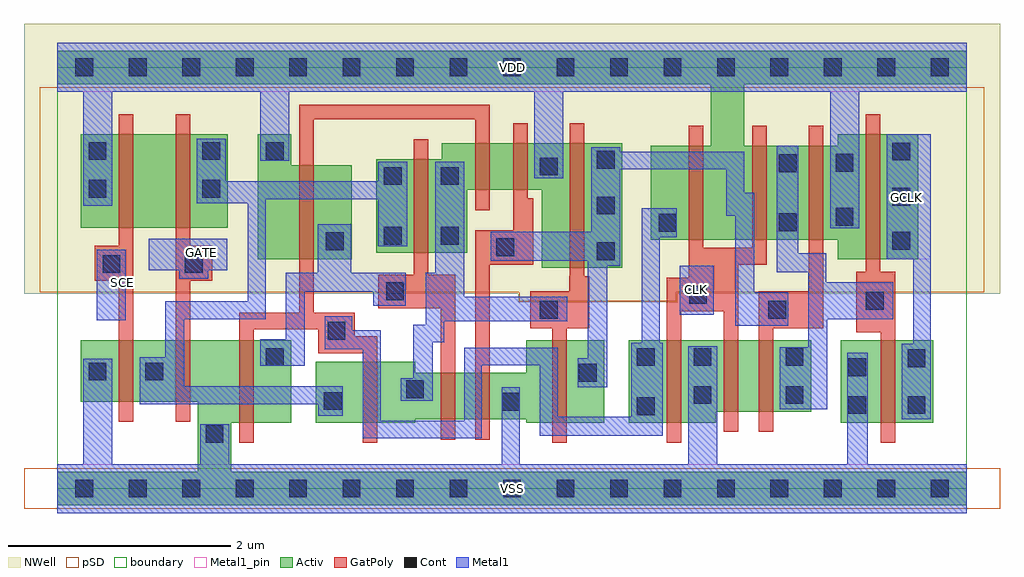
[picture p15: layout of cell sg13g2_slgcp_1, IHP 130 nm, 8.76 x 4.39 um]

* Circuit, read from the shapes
.subckt sg13g2_slgcp_1 CLK GATE GCLK SCE VDD VSS
XM1 n1 SCE VSS VSS sg13_lv_nmos w=0.55u l=0.13u
XM2 VSS GATE n1 VSS sg13_lv_nmos w=0.55u l=0.13u
XM3 n2 n3 VSS VSS sg13_lv_nmos w=0.74u l=0.13u
XM4 n4 n3 n1 VSS sg13_lv_nmos w=0.55u l=0.13u
XM5 n5 n2 n4 VSS sg13_lv_nmos w=0.42u l=0.13u
XM6 VSS n6 n5 VSS sg13_lv_nmos w=0.42u l=0.13u
XM7 n6 n4 VSS VSS sg13_lv_nmos w=0.74u l=0.13u
XM8 VSS CLK n3 VSS sg13_lv_nmos w=0.74u l=0.13u
XM9 n7 CLK VSS VSS sg13_lv_nmos w=0.64u l=0.13u
XM10 n8 n6 n7 VSS sg13_lv_nmos w=0.64u l=0.13u
XM11 GCLK n8 VSS VSS sg13_lv_nmos w=0.74u l=0.13u
XM12 n9 SCE VDD VDD sg13_lv_pmos w=0.84u l=0.13u
XM13 n1 GATE n9 VDD sg13_lv_pmos w=0.84u l=0.13u
XM14 n2 n3 VDD VDD sg13_lv_pmos w=0.84u l=0.13u
XM15 n4 n2 n1 VDD sg13_lv_pmos w=0.84u l=0.13u
XM16 n10 n3 n4 VDD sg13_lv_pmos w=0.42u l=0.13u
XM17 VDD n6 n10 VDD sg13_lv_pmos w=0.42u l=0.13u
XM18 n6 n4 VDD VDD sg13_lv_pmos w=1.12u l=0.13u
XM19 VDD CLK n3 VDD sg13_lv_pmos w=0.84u l=0.13u
XM20 n8 CLK VDD VDD sg13_lv_pmos w=0.84u l=0.13u
XM21 VDD n6 n8 VDD sg13_lv_pmos w=0.84u l=0.13u
XM22 GCLK n8 VDD VDD sg13_lv_pmos w=1.12u l=0.13u
.ends

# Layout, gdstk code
import gdstk
lib = gdstk.Library(unit=1e-6, precision=1e-09)
def R(c, l, rs):  # rectangles x0, y0, x1, y1
    for r in rs: c.add(gdstk.rectangle(r[:2], r[2:], *l))
def A(c, l, x, y, w, h, nx, ny, dx, dy):  # array of equal rectangles
    R(c, l, [(x+i*dx, y+j*dy, x+i*dx+w, y+j*dy+h) for i in range(nx) for j in range(ny)])
def P(c, l, *ps):  # polygons
    for p in ps: c.add(gdstk.Polygon(p, *l))
Activ = (1, 0)
GatPoly = (5, 0)
Cont = (6, 0)
Metal1 = (8, 0)
Metal1_pin = (8, 2)
pSD = (14, 0)
NWell = (31, 0)
boundary = (189, 4)

sg13g2_slgcp_1 = lib.new_cell('sg13g2_slgcp_1')
R(sg13g2_slgcp_1, Activ, [(7.03,0.59,7.86,1.33), (0.21,2.34,1.53,3.18), (0,3.63,8.16,3.93)])
P(sg13g2_slgcp_1, Activ, [(0,-0.15),(0,0.15),(1.26,0.15),(1.26,0.78),(0.21,0.78),(0.21,1.33),(2.1,1.33),(2.1,0.59),(1.56,0.59),(1.56,0.15),(8.16,0.15),(8.16,-0.15)],
  [(7.005,2.06),(7.005,2.235),(5.325,2.235),(5.325,3.075),(5.865,3.075),(5.865,3.63),(6.165,3.63),(6.165,3.075),(7.005,3.075),(7.005,3.18),(7.725,3.18),(7.725,2.06)],
  [(5.13,0.59),(5.13,1.33),(6.765,1.33),(6.765,0.69),(5.91,0.69),(5.91,0.59)],
  [(4.345,1.98),(4.345,2.68),(3.68,2.68),(3.68,2.115),(2.86,2.115),(2.86,2.955),(3.45,2.955),(3.45,3.1),(5.07,3.1),(5.07,1.98)],
  [(2.32,0.59),(2.32,1.14),(3.21,1.14),(3.21,1.04),(4.21,1.04),(4.21,1.33),(4.91,1.33),(4.91,0.59),(4.21,0.59),(4.21,0.62),(3.21,0.62),(3.21,0.59)],
  [(1.8,2.06),(1.8,3.18),(2.1,3.18),(2.1,2.9),(2.64,2.9),(2.64,2.06)])
P(sg13g2_slgcp_1, GatPoly, [(0.55,0.6),(0.55,1.865),(0.335,1.865),(0.335,2.18),(0.55,2.18),(0.55,3.36),(0.68,3.36),(0.68,0.6)],
  [(7.39,0.41),(7.39,1.405),(7.17,1.405),(7.17,1.945),(7.255,1.945),(7.255,3.36),(7.385,3.36),(7.385,1.945),(7.52,1.945),(7.52,0.41)],
  [(6.295,0.51),(6.295,1.77),(6.745,1.77),(6.745,3.255),(6.875,3.255),(6.875,1.44),(6.425,1.44),(6.425,0.51)],
  [(5.47,0.41),(5.47,1.89),(5.665,1.89),(5.665,3.255),(5.795,3.255),(5.795,2.16),(6.235,2.16),(6.235,3.255),(6.365,3.255),(6.365,2.01),(6.11,2.01),(6.11,0.51),(5.98,0.51),(5.98,1.59),(5.6,1.59),(5.6,0.41)],
  [(4.44,0.41),(4.44,1.44),(4.245,1.44),(4.245,1.77),(4.595,1.77),(4.595,1.905),(4.6,1.905),(4.6,3.28),(4.73,3.28),(4.73,1.905),(4.775,1.905),(4.775,1.44),(4.57,1.44),(4.57,0.41)],
  [(3.75,0.44),(3.75,2.32),(4.09,2.32),(4.09,3.28),(4.22,3.28),(4.22,2.605),(4.27,2.605),(4.27,2.01),(3.88,2.01),(3.88,0.44)],
  [(1.63,0.41),(1.63,1.58),(2.17,1.58),(2.17,3.445),(3.88,3.445),(3.88,2.5),(3.75,2.5),(3.75,3.315),(2.3,3.315),(2.3,1.58),(2.67,1.58),(2.67,1.365),(2.87,1.365),(2.87,0.41),(2.74,0.41),(2.74,1.215),(2.34,1.215),(2.34,1.43),(1.76,1.43),(1.76,0.41)],
  [(3.44,0.44),(3.44,1.62),(2.88,1.62),(2.88,1.92),(3.2,1.92),(3.2,3.135),(3.33,3.135),(3.33,1.92),(3.57,1.92),(3.57,0.44)],
  [(1.06,0.6),(1.06,3.36),(1.19,3.36),(1.19,2.18),(1.39,2.18),(1.39,1.865),(1.19,1.865),(1.19,0.6)])
A(sg13g2_slgcp_1, Cont, 0.16, -0.08, 0.16, 0.16, 17, 2, 0.48, 3.78)
A(sg13g2_slgcp_1, Cont, 4.84, 2.05, 0.16, 0.16, 1, 3, 0, 0.41)
R(sg13g2_slgcp_1, Cont, [(1.33,0.41,1.49,0.57), (5.2,0.66,5.36,0.82), (7.1,0.67,7.26,0.83), (7.63,0.67,7.79,0.83), (3.99,0.7,4.15,0.86), (2.39,0.705,2.55,0.865), (5.71,0.76,5.87,0.92), (6.535,0.76,6.695,0.92), (3.13,0.81,3.29,0.97), (4.68,0.96,4.84,1.12), (0.28,0.97,0.44,1.13), (0.79,0.97,0.95,1.13), (7.1,1.01,7.26,1.17), (7.63,1.09,7.79,1.25), (1.87,1.1,2.03,1.26), (5.2,1.1,5.36,1.26), (5.71,1.1,5.87,1.26), (6.535,1.1,6.695,1.26), (2.425,1.335,2.585,1.495), (4.33,1.525,4.49,1.685), (6.38,1.525,6.54,1.685), (7.255,1.605,7.415,1.765), (5.67,1.66,5.83,1.82), (2.95,1.69,3.11,1.85), (0.405,1.935,0.565,2.095), (1.145,1.935,1.305,2.095), (3.94,2.085,4.1,2.245), (2.41,2.14,2.57,2.3), (7.495,2.145,7.655,2.305), (2.93,2.19,3.09,2.35), (3.44,2.19,3.6,2.35), (5.395,2.305,5.555,2.465), (6.475,2.31,6.635,2.47), (6.985,2.36,7.145,2.52), (7.495,2.54,7.655,2.7), (0.28,2.61,0.44,2.77), (1.3,2.61,1.46,2.77), (2.93,2.725,3.09,2.885), (3.44,2.725,3.6,2.885), (4.33,2.81,4.49,2.97), (6.475,2.84,6.635,3), (6.985,2.845,7.145,3.005), (7.495,2.945,7.655,3.105), (0.28,2.95,0.44,3.11), (1.3,2.95,1.46,3.11), (1.87,2.95,2.03,3.11)])
R(sg13g2_slgcp_1, Metal1, [(0.355,1.51,0.615,2.145), (5.585,1.56,5.89,2)])
P(sg13g2_slgcp_1, Metal1, [(0,-0.22),(0,0.22),(0.23,0.22),(0.23,1.165),(0.49,1.165),(0.49,0.22),(1.28,0.22),(1.28,0.575),(1.54,0.575),(1.54,0.22),(3.99,0.22),(3.99,0.91),(4.15,0.91),(4.15,0.22),(5.66,0.22),(5.66,1.275),(5.92,1.275),(5.92,0.22),(7.09,0.22),(7.09,1.22),(7.275,1.22),(7.275,0.22),(8.16,0.22),(8.16,-0.22)],
  [(6.935,2.335),(6.935,3.56),(4.54,3.56),(4.54,2.785),(4.28,2.785),(4.28,3.56),(2.08,3.56),(2.08,2.94),(1.82,2.94),(1.82,3.56),(0.49,3.56),(0.49,2.54),(0.23,2.54),(0.23,3.56),(0,3.56),(0,4),(8.16,4),(8.16,3.56),(7.195,3.56),(7.195,2.335)],
  [(4.67,0.91),(4.67,1.17),(4.76,1.17),(4.76,2.045),(3.89,2.045),(3.89,2.305),(4.79,2.305),(4.79,3.065),(5.05,3.065),(5.05,3.025),(6.165,3.025),(6.165,2.655),(6.255,2.655),(6.255,1.76),(6.56,1.76),(6.56,1.46),(6.085,1.46),(6.085,2.45),(6.005,2.45),(6.005,2.865),(5.05,2.865),(5.05,2),(4.935,2),(4.935,0.91)],
  [(7.58,0.62),(7.58,1.3),(7.68,1.3),(7.68,2.06),(7.445,2.06),(7.445,3.18),(7.84,3.18),(7.84,0.62)],
  [(6.485,0.71),(6.485,1.27),(6.74,1.27),(6.74,1.94),(6.455,1.94),(6.455,3.075),(6.65,3.075),(6.65,2.11),(6.9,2.11),(6.9,1.85),(7.5,1.85),(7.5,1.52),(6.91,1.52),(6.91,0.71)],
  [(2.74,0.45),(2.74,1.25),(2.4,1.25),(2.4,1.545),(2.645,1.545),(2.645,1.42),(2.9,1.42),(2.9,0.61),(3.65,0.61),(3.65,1.265),(4.49,1.265),(4.49,0.645),(5.15,0.645),(5.15,1.31),(5.245,1.31),(5.245,2.515),(5.56,2.515),(5.56,2.255),(5.405,2.255),(5.405,1.31),(5.435,1.31),(5.435,0.475),(4.33,0.475),(4.33,1.105),(3.81,1.105),(3.81,0.45)],
  [(3.08,0.79),(3.08,0.99),(3.195,0.99),(3.195,1.47),(3.305,1.47),(3.305,1.935),(3.39,1.935),(3.39,2.935),(3.65,2.935),(3.65,1.72),(4.575,1.72),(4.575,1.5),(3.47,1.5),(3.47,1.315),(3.37,1.315),(3.37,0.79)],
  [(2.34,0.655),(2.34,0.755),(0.74,0.755),(0.74,1.18),(0.97,1.18),(0.97,1.68),(1.71,1.68),(1.71,2.56),(1.25,2.56),(1.25,3.14),(1.51,3.14),(1.51,2.76),(2.88,2.76),(2.88,2.935),(3.14,2.935),(3.14,2.175),(2.88,2.175),(2.88,2.595),(1.87,2.595),(1.87,1.52),(1.14,1.52),(1.14,0.92),(2.56,0.92),(2.56,0.655)],
  [(1.82,1.1),(1.82,1.34),(2.05,1.34),(2.05,1.935),(2.335,1.935),(2.335,2.37),(2.635,2.37),(2.635,1.935),(3.125,1.935),(3.125,1.64),(2.835,1.64),(2.835,1.765),(2.22,1.765),(2.22,1.1)],
  [(1.095,1.885),(1.095,1.96),(0.82,1.96),(0.82,2.24),(1.525,2.24),(1.525,1.96),(1.355,1.96),(1.355,1.885)])
R(sg13g2_slgcp_1, Metal1_pin, [(0,-0.22,8.16,0.22), (0.355,1.51,0.615,2.145), (5.585,1.56,5.89,2), (0.82,1.96,1.525,2.24), (7.445,2.06,7.84,3.18), (0,3.56,8.16,4)])
R(sg13g2_slgcp_1, pSD, [(-0.3,-0.18,8.46,0.18)])
P(sg13g2_slgcp_1, pSD, [(4.145,1.68),(4.145,1.76),(-0.16,1.76),(-0.16,3.6),(8.32,3.6),(8.32,1.76),(5.555,1.76),(5.555,1.68)])
P(sg13g2_slgcp_1, NWell, [(4.135,1.67),(4.135,1.75),(-0.3,1.75),(-0.3,4.17),(8.46,4.17),(8.46,1.75),(5.565,1.75),(5.565,1.67)])
R(sg13g2_slgcp_1, boundary, [(0,0,8.16,3.78)])
sg13g2_slgcp_1.add(gdstk.Label('GCLK', (7.62,2.615), layer=8, texttype=25))
sg13g2_slgcp_1.add(gdstk.Label('SCE', (0.58,1.845), layer=8, texttype=25))
sg13g2_slgcp_1.add(gdstk.Label('GATE', (1.29,2.115), layer=8, texttype=25))
sg13g2_slgcp_1.add(gdstk.Label('CLK', (5.735,1.785), layer=8, texttype=25))
sg13g2_slgcp_1.add(gdstk.Label('VSS', (4.085,0), layer=8, texttype=25))
sg13g2_slgcp_1.add(gdstk.Label('VDD', (4.08,3.78), layer=8, texttype=25))

lib.write_gds('sg13g2_slgcp_1.gds')
